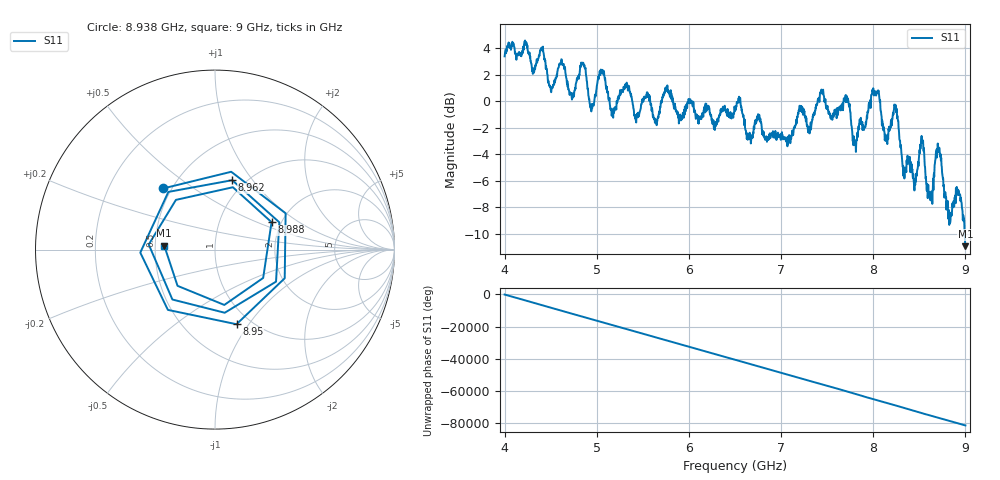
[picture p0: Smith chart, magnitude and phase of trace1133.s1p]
! Created with skrf 1.8.0 (http://scikit-rf.org).
# Hz S RI R 50.0
!freq ReS11 ImS11
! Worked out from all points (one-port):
!   1601 points, 4 GHz to 9 GHz, reference 50 ohm
!   lowest |S11| = -10.9 dB at 9 GHz (marker M1), VSWR 1.79, Z = 27.9 + j1.35 ohm
!   |S11| at or under -10 dB: 8.990605 GHz to end of sweep
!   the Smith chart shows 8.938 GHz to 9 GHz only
!   S11 on the Smith chart (normalised r, x): 8.938 GHz: 0.45, +0.38; 8.95 GHz: 0.86, -0.88; 8.962 GHz: 0.87, +0.80; 8.988 GHz: 1.78, +0.62; 9 GHz: 0.56, +0.03
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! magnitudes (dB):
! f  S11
! 4 GHz  3.4
! 4.403 GHz  4.0
! 4.506 GHz  0.7
! 4.625 GHz  2.9
! 4.728 GHz  0.3
! 4.853 GHz  2.9
! 4.947 GHz  -0.2
! 5.053 GHz  2.2
! 5.166 GHz  -0.9
! 5.25 GHz  0.6
! 5.875 GHz  -1.0
! 6.5 GHz  -0.7
! 7.125 GHz  -2.6
! 7.441 GHz  0.6
! 7.75 GHz  -0.8
! 7.8 GHz  -3.0
! 8.038 GHz  0.6
! 8.375 GHz  -4.4
! 8.453 GHz  -6.2
! 8.528 GHz  -3.1
! 8.616 GHz  -7.4
! 8.706 GHz  -3.8
! 8.825 GHz  -9.3
! 8.938 GHz  -7.0
! 8.95 GHz  -7.3
! 8.962 GHz  -8.0
! 8.988 GHz  -9.1
! 9 GHz  -10.9
